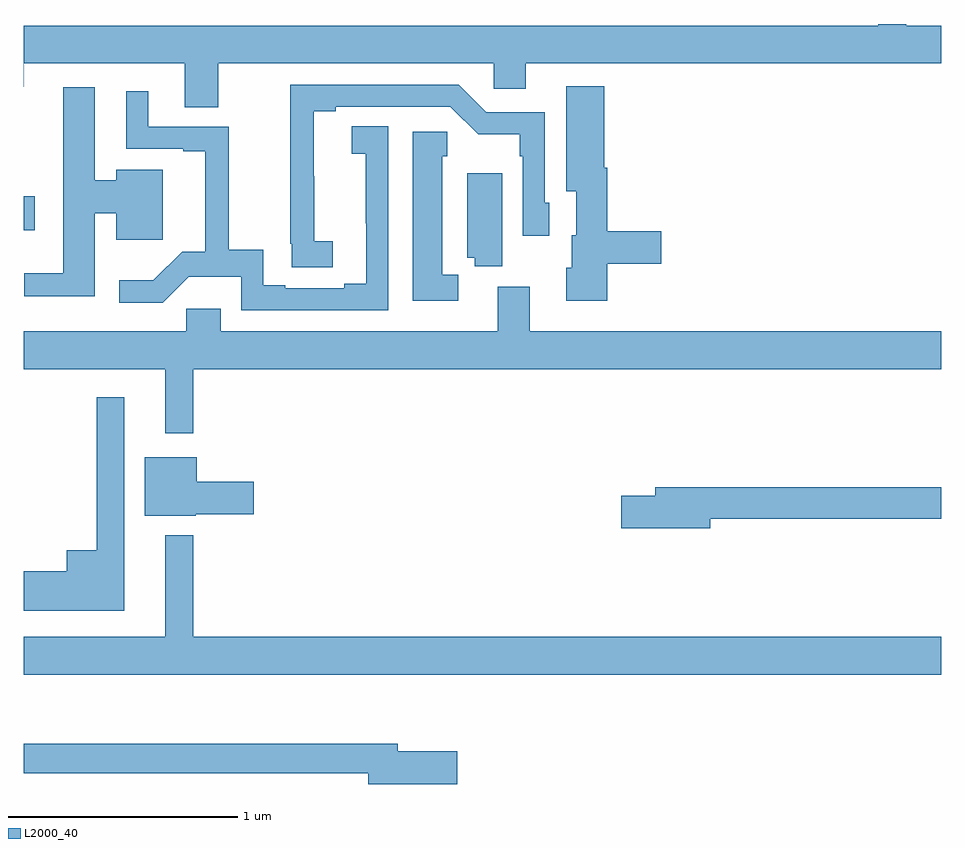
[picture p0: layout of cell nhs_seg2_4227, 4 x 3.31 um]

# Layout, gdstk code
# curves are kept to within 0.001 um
import gdstk
lib = gdstk.Library(unit=1e-6, precision=1e-09)
def R(c, l, rs):  # rectangles x0, y0, x1, y1
    for r in rs: c.add(gdstk.rectangle(r[:2], r[2:], *l))
def P(c, l, *ps):  # polygons
    for p in ps: c.add(gdstk.Polygon(p, *l))
L2000_40 = (2000, 40)

nhs_seg2_4227 = lib.new_cell('nhs_seg2_4227')
R(nhs_seg2_4227, L2000_40, [(339,654.902,339.049,655.05)])
P(nhs_seg2_4227, L2000_40, [(339.849,655.628),(341.049,655.628),(341.049,655.518),(341.188,655.518),(341.188,655.628),(343,655.628),(343,655.792),(342.847,655.792),(342.847,655.8),(342.725,655.8),(342.725,655.792),(339,655.792),(339,655.526),(339.001,655.526),(339.001,655.628),(339.701,655.628),(339.701,655.438),(339.849,655.438)],
  [(340.348,654.854),(340.266,654.854),(340.264,655.42),(340.36,655.42),(340.36,655.44),(340.86,655.44),(340.981,655.319),(341.163,655.319),(341.163,655.223),(341.175,655.223),(341.175,654.876),(341.292,654.876),(341.292,655.02),(341.271,655.02),(341.271,655.416),(341.016,655.416),(340.896,655.536),(340.162,655.536),(340.162,654.841),(340.168,654.841),(340.168,654.739),(340.348,654.739)],
  [(341.543,654.754),(341.779,654.754),(341.779,654.896),(341.543,654.896),(341.543,655.174),(341.53,655.174),(341.53,655.528),(341.366,655.528),(341.366,655.07),(341.408,655.07),(341.408,654.879),(341.39,654.879),(341.39,654.738),(341.366,654.738),(341.366,654.594),(341.543,654.594)],
  [(339.31,654.976),(339.404,654.976),(339.404,654.86),(339.607,654.86),(339.607,655.165),(339.404,655.165),(339.404,655.118),(339.31,655.118),(339.31,655.525),(339.173,655.525),(339.173,654.713),(339.003,654.713),(339.003,654.614),(339.31,654.614)],
  [(340.59,655.355),(340.431,655.355),(340.431,655.235),(340.492,655.235),(340.493,654.668),(340.397,654.668),(340.397,654.648),(340.141,654.648),(340.141,654.662),(340.044,654.662),(340.044,654.815),(339.893,654.815),(339.893,655.353),(339.544,655.353),(339.544,655.507),(339.446,655.507),(339.446,655.257),(339.695,655.257),(339.695,655.245),(339.791,655.245),(339.791,654.808),(339.691,654.808),(339.565,654.682),(339.417,654.682),(339.417,654.585),(339.606,654.585),(339.719,654.698),(339.948,654.698),(339.948,654.552),(340.59,654.552)],
  [(340.894,654.708),(340.825,654.708),(340.825,655.224),(340.847,655.224),(340.847,655.33),(340.697,655.33),(340.697,654.593),(340.894,654.593)],
  [(341.086,655.15),(340.934,655.15),(340.934,654.782),(340.966,654.782),(340.966,654.745),(341.086,654.745)],
  [(339.739,654.296),(343,654.296),(343,654.46),(341.206,654.46),(341.206,654.655),(341.066,654.655),(341.066,654.46),(339.859,654.46),(339.859,654.558),(339.708,654.558),(339.708,654.46),(339,654.46),(339,654.296),(339.617,654.296),(339.617,654.015),(339.739,654.015)],
  [(339.439,654.172),(339.318,654.172),(339.318,653.506),(339.188,653.506),(339.188,653.414),(339,653.414),(339,653.243),(339.439,653.243)],
  [(339.75,653.663),(340.003,653.663),(340.003,653.805),(339.754,653.805),(339.754,653.911),(339.527,653.911),(339.527,653.657),(339.75,653.657)],
  [(341.992,653.644),(343,653.644),(343,653.78),(341.753,653.78),(341.753,653.744),(341.604,653.744),(341.604,653.602),(341.992,653.602)],
  [(343,653.128),(339.739,653.128),(339.739,653.572),(339.617,653.572),(339.617,653.128),(339,653.128),(339,652.964),(343,652.964)],
  [(340.891,652.629),(340.63,652.629),(340.63,652.663),(339,652.663),(339,652.534),(340.502,652.534),(340.502,652.487),(340.891,652.487)])

lib.write_gds('nhs_seg2_4227.gds')
